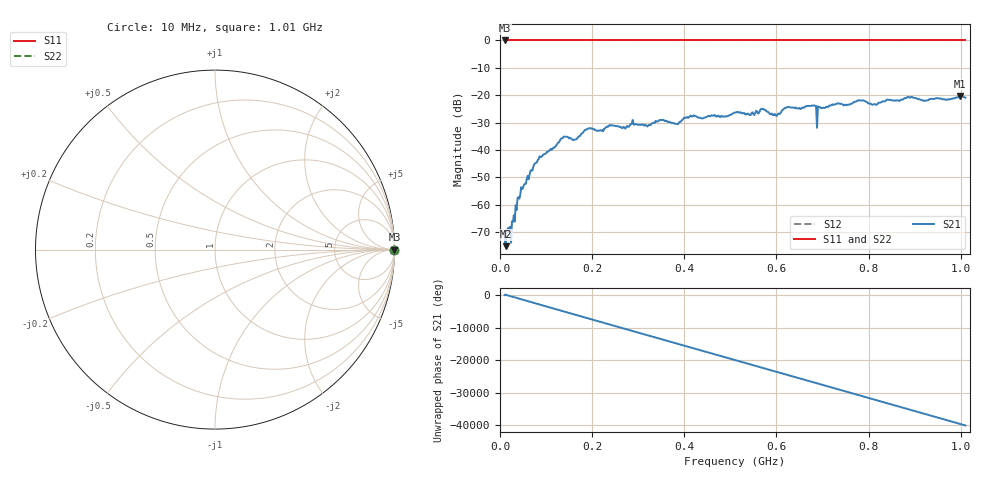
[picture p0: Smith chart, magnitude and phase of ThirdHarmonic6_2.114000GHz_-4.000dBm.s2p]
! 8/17/2025 1:16:34 AM
! C:\ANRITSUVNA\TEMP\TEMP.S2P
! CHANNEL.1
! TR.MEASUREMENT
! RAW.DATA
! RF.CORRECTION.OFF
! AVERAGING.OFF
! IF.BANDWIDTH: 5KHZ
! SWEEPTYPE:  FREQ.SWEEP(Linear)
! Reference Plane Port Info
! PORT:  PORT1  PORT2
! DISTANCE:  0  m  0  m
! TIME:  0  s  0  s
! PHASE.OFFSET:  0  deg.  0  deg.
! LOSS:  0  dB  0  dB
! REF.LOSS:  0  dB  0  dB
! REF.FREQ:  0  Hz  0  Hz
! Power Info
! POWER:  -20  dBm  -20  dBm
! EFF.POWER:  -20  dBm  -20  dBm
! SOURCE.ATTEN:  0  dB  0  dB
! TEST.ATTEN:  0  dB  0  dB
# GHZ S RI R 50.0
! FREQ.GHZ  S11RE  S11IM  S21RE  S21IM  S12RE  S12IM  S22RE  S22IM
!; PortSelection: Port_12
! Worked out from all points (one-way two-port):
!   501 points, 10 MHz to 1.01 GHz, reference 50 ohm
!   highest |S21| = -20.26 dB at 998 MHz (marker M1); lowest = -75.1 dB at 12 MHz (marker M2)
!   lowest |S11| = 0.0 dB at 10 MHz (marker M3)
!   |S11| at or under -10 dB: nowhere
!   |S22| runs from 0.0 to 0.0 dB; largest |S21 - S12| = 1.1
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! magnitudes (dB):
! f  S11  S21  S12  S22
! 10 MHz  0.0  -70.3  0.0  0.0
! 12 MHz  0.0  -75.1  0.0  0.0
! 28 MHz  0.0  -66.3  0.0  0.0
! 38 MHz  0.0  -57.6  0.0  0.0
! 50 MHz  0.0  -53.8  0.0  0.0
! 84 MHz  0.0  -43.3  0.0  0.0
! 136 MHz  0.0  -35.7  0.0  0.0
! 162 MHz  0.0  -36.1  0.0  0.0
! 178 MHz  0.0  -33.9  0.0  0.0
! 344 MHz  0.0  -29.4  0.0  0.0
! 384 MHz  0.0  -30.5  0.0  0.0
! 416 MHz  0.0  -27.7  0.0  0.0
! 510 MHz  0.0  -26.3  0.0  0.0
! 570 MHz  0.0  -25.0  0.0  0.0
! 598 MHz  0.0  -27.3  0.0  0.0
! 622 MHz  0.0  -24.5  0.0  0.0
! 678 MHz  0.0  -23.8  0.0  0.0
! 692 MHz  0.0  -24.3  0.0  0.0
! 732 MHz  0.0  -23.0  0.0  0.0
! 844 MHz  0.0  -21.7  0.0  0.0
! 998 MHz  0.0  -20.3  0.0  0.0
! 1.01 GHz  0.0  -20.9  0.0  0.0
